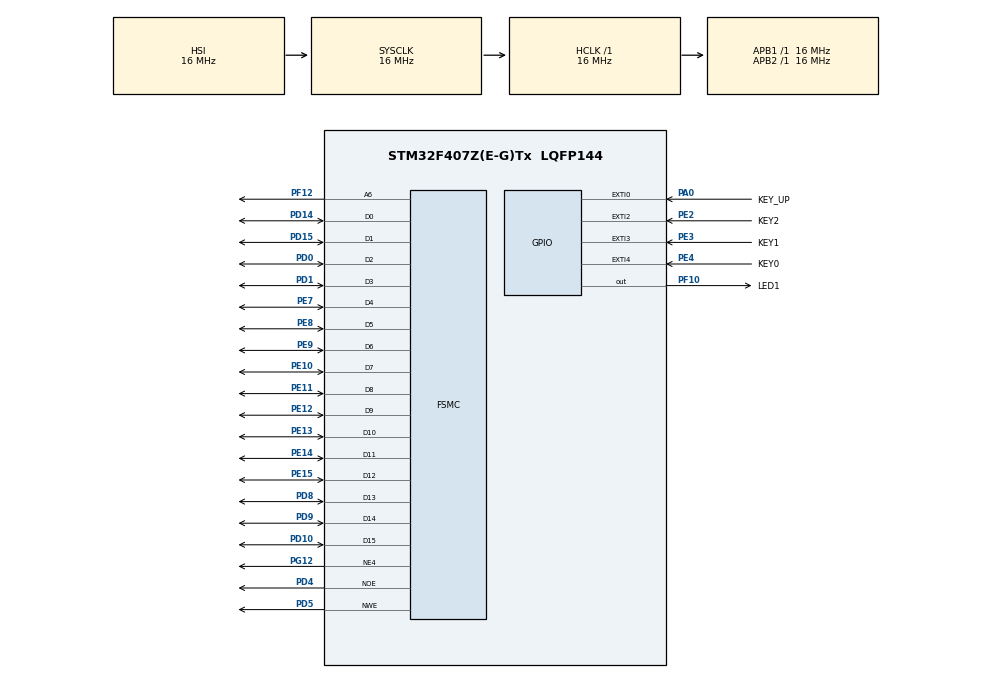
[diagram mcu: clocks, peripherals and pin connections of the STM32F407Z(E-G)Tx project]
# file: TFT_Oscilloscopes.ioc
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FSMC.AddressSetupTime1=1
FSMC.BusTurnAroundDuration1=1
FSMC.DataSetupTime1=1
Mcu.Family=STM32F4
Mcu.Name=STM32F407Z(E-G)Tx
Mcu.Package=LQFP144
NVIC.EXTI0_IRQn=true\:0\:0\:false\:false\:true\:true\:true\:true
NVIC.EXTI2_IRQn=true\:0\:0\:false\:false\:true\:true\:true\:true
NVIC.EXTI3_IRQn=true\:0\:0\:false\:false\:true\:true\:true\:true
NVIC.EXTI4_IRQn=true\:0\:0\:false\:false\:true\:true\:true\:true
NVIC.PriorityGroup=NVIC_PRIORITYGROUP_4
NVIC.TIM1_BRK_TIM9_IRQn=true\:0\:0\:false\:false\:true\:true\:true\:true
NVIC.TIM1_UP_TIM10_IRQn=true\:0\:0\:false\:false\:true\:true\:true\:true
PA0-WKUP.GPIO_Label=KEY_UP
PA0-WKUP.GPIO_ModeDefaultEXTI=GPIO_MODE_IT_RISING_FALLING
PA0-WKUP.GPIO_PuPd=GPIO_PULLDOWN
PA0-WKUP.Signal=GPXTI0
PD0.Signal=FSMC_D2_DA2
PD1.Signal=FSMC_D3_DA3
PD10.Signal=FSMC_D15_DA15
PD14.Signal=FSMC_D0_DA0
PD15.Signal=FSMC_D1_DA1
PD4.Signal=FSMC_NOE
PD5.Signal=FSMC_NWE
PD8.Signal=FSMC_D13_DA13
PD9.Signal=FSMC_D14_DA14
PE10.Signal=FSMC_D7_DA7
PE11.Signal=FSMC_D8_DA8
PE12.Signal=FSMC_D9_DA9
PE13.Signal=FSMC_D10_DA10
PE14.Signal=FSMC_D11_DA11
PE15.Signal=FSMC_D12_DA12
PE2.GPIO_Label=KEY2
PE2.GPIO_ModeDefaultEXTI=GPIO_MODE_IT_RISING_FALLING
PE2.GPIO_PuPd=GPIO_PULLUP
PE2.Signal=GPXTI2
PE3.GPIO_Label=KEY1
PE3.GPIO_ModeDefaultEXTI=GPIO_MODE_IT_RISING_FALLING
PE3.GPIO_PuPd=GPIO_PULLUP
PE3.Signal=GPXTI3
PE4.GPIO_Label=KEY0
PE4.GPIO_ModeDefaultEXTI=GPIO_MODE_IT_RISING_FALLING
PE4.GPIO_PuPd=GPIO_PULLUP
PE4.Signal=GPXTI4
PE7.Signal=FSMC_D4_DA4
PE8.Signal=FSMC_D5_DA5
PE9.Signal=FSMC_D6_DA6
PF10.GPIO_Label=LED1
PF10.Signal=GPIO_Output
PF12.Signal=FSMC_A6
PG12.Mode=NorPsramChipSelect4_1
PG12.Signal=FSMC_NE4
ProjectManager.HeapSize=0x200
ProjectManager.StackSize=0x400
ProjectManager.TargetToolchain=STM32CubeIDE
RCC.AHBFreq_Value=16000000
RCC.APB1Freq_Value=16000000
RCC.APB2Freq_Value=16000000
RCC.CortexFreq_Value=16000000
RCC.HSE_VALUE=25000000
RCC.HSI_VALUE=16000000
RCC.LSE_VALUE=32768
RCC.SYSCLKFreq_VALUE=16000000
RCC.VCOOutputFreq_Value=192000000
SH.FSMC_A6.0=FSMC_A6,A6_1
SH.FSMC_D0_DA0.0=FSMC_D0,16b-d1
SH.FSMC_D10_DA10.0=FSMC_D10,16b-d1
SH.FSMC_D11_DA11.0=FSMC_D11,16b-d1
SH.FSMC_D12_DA12.0=FSMC_D12,16b-d1
SH.FSMC_D13_DA13.0=FSMC_D13,16b-d1
SH.FSMC_D14_DA14.0=FSMC_D14,16b-d1
SH.FSMC_D15_DA15.0=FSMC_D15,16b-d1
SH.FSMC_D1_DA1.0=FSMC_D1,16b-d1
SH.FSMC_D2_DA2.0=FSMC_D2,16b-d1
SH.FSMC_D3_DA3.0=FSMC_D3,16b-d1
SH.FSMC_D4_DA4.0=FSMC_D4,16b-d1
SH.FSMC_D5_DA5.0=FSMC_D5,16b-d1
SH.FSMC_D6_DA6.0=FSMC_D6,16b-d1
SH.FSMC_D7_DA7.0=FSMC_D7,16b-d1
SH.FSMC_D8_DA8.0=FSMC_D8,16b-d1
SH.FSMC_D9_DA9.0=FSMC_D9,16b-d1
SH.FSMC_NOE.0=FSMC_NOE,Lcd1
SH.FSMC_NWE.0=FSMC_NWE,Lcd1
TIM1.Period=400
TIM1.Prescaler=400
VP_TIM1_VS_ClockSourceINT.Mode=Internal
board=custom

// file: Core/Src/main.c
/* USER CODE BEGIN Header */
/**
  ******************************************************************************
  * @file           : main.c
  * @brief          : Main program body
  ******************************************************************************
  * @attention
  *
  * Copyright (c) 2024 STMicroelectronics.
  * All rights reserved.
  *
  * This software is licensed under terms that can be found in the LICENSE file
  * in the root directory of this software component.
  * If no LICENSE file comes with this software, it is provided AS-IS.
  *
  ******************************************************************************
  */
/* USER CODE END Header */
#include "main.h"

/* USER CODE BEGIN Includes */
#include "tftlcd.h"
#include <math.h>
/* USER CODE END Includes */

TIM_HandleTypeDef htim1;

SRAM_HandleTypeDef hsram1;

/* USER CODE BEGIN PV */
float x,y;
/* USER CODE END PV */

void SystemClock_Config(void);
static void MX_GPIO_Init(void);
static void MX_FSMC_Init(void);
static void MX_TIM1_Init(void);

/* USER CODE BEGIN 0 */

void HAL_GPIO_EXTI_Callback(uint16_t GPIO_Pin)
{
	HAL_TIM_Base_Start_IT(&htim1);
}

void onKey0();
void onKey1();
void onKey2();
void onKeyUP();

void HAL_TIM_PeriodElapsedCallback(TIM_HandleTypeDef *htim)
{
	int keyState = 0;
	int pressedKey = 1;
	switch(keyState)
	{
		case 0:

			if(!HAL_GPIO_ReadPin(KEY0_GPIO_Port,KEY0_Pin))
			{
				pressedKey = 0;
				keyState = 1;
				onKey0();
			} else if(!HAL_GPIO_ReadPin(KEY1_GPIO_Port,KEY1_Pin))
			{
				pressedKey = 1;
				keyState = 1;
				onKey1();
			} else if(!HAL_GPIO_ReadPin(KEY2_GPIO_Port,KEY2_Pin))
			{
				pressedKey = 2;
				keyState = 1;
				onKey2();

			} else if (HAL_GPIO_ReadPin(KEY_UP_GPIO_Port,KEY_UP_Pin))
			{
				pressedKey = -1;
				keyState = 1;
				onKeyUP();
			}
			break;
		case 1:

		switch(pressedKey)
		{
			case 0:
				if(HAL_GPIO_ReadPin(KEY0_GPIO_Port,KEY0_Pin))
				{
					keyState = 0;
				}
				break;
			case 1:
				if(HAL_GPIO_ReadPin(KEY1_GPIO_Port,KEY1_Pin))
				{
					keyState = 0;
				}
				break;
			case 2:
				if(HAL_GPIO_ReadPin(KEY2_GPIO_Port,KEY2_Pin))
				{
					keyState = 0;
				}
				break;
			case -1:
				if (!HAL_GPIO_ReadPin(KEY_UP_GPIO_Port,KEY_UP_Pin))
				{
					keyState = 0;
				}
				break;
		}
		break;
	}

}

void drawAxis()
{
	TFT_DrawLine(1,240,320,240,0xFFFF);
	TFT_DrawLine(160,1,160,480,0xFFFF);
	TFT_DrawLine(320,240,310,230,0xFFFF);
	TFT_DrawLine(320,240,310,250,0xFFFF);
	TFT_DrawLine(160,480,150,470,0xFFFF);
	TFT_DrawLine(160,480,170,470,0xFFFF);
	for(int j=0;j<=48;j++)
	{
		TFT_DrawLine(160,j*10,170,j*10,0xFFFF);
	}
	for(int j=0;j<=32;j++)
	{
		TFT_DrawLine(j*10,240,j*10,250,0xFFFF);
	}
}

void drawCoordinate_Sin()
{
	TFT_Clear(0x0000);
	drawAxis();
	for(float i=1;i<480;i+=0.1)
	{
		y=i;
		x=50*sin(i*3.1415/20)+160;
		TFT_DrawPoint(x,y,0xF800);
	}
}

void drawCoordinate1()
{
	TFT_Clear(0x0000);
	drawAxis();
	for(float i=1;i<480;i+=0.1)
	{
		y=i;
		x=50*sin(i*3.1415/20);
		if(x<0.2&&x>-0.2)
		{
			TFT_DrawLine(120,i,200,i,0xF800);
			TFT_DrawLine(200,i,120,i+20,0xF800);
		}
	}
}

void drawCoordinate2()
{
	TFT_Clear(0x0000);
	drawAxis();
	for(float i=1;i<480;i+=0.1)
	{
		x=i;
		y=50*sin(i*3.1415/20);
		if(y>0.1)
		{
			y=200;
			TFT_DrawPoint(y,x,0xF800);
		}
		else if(y<-0.1)
		{
			y=120;
			TFT_DrawPoint(y,x,0xF800);
		}
		else
			TFT_DrawLine(120,i,200,i,0xF800);
	}
}

void drawCoordinate3()
{
	TFT_Clear(0x0000);
	drawAxis();
	for(float i=1;i<480;i+=0.1)
	{
		x=i;
		y=50*sin(i*3.1415/20);
		if(y<0.2&&y>-0.2)
		{
			TFT_DrawLine(200,i,120,i+10,0xF800);
			TFT_DrawLine(120,i-10,200,i,0xF800);
		}
	}
}

void onKey0()
{
	drawCoordinate_Sin();
}

void onKey1()
{
	drawCoordinate1();
}

void onKey2()
{
	drawCoordinate2();
}

void onKeyUP()
{
	drawCoordinate3();
}

/* USER CODE END 0 */

int main(void)
{

  /* MCU Configuration--------------------------------------------------------*/

  /* Reset of all peripherals, Initializes the Flash interface and the Systick. */
  HAL_Init();

  /* Configure the system clock */
  SystemClock_Config();

  /* Initialize all configured peripherals */
  MX_GPIO_Init();
  MX_FSMC_Init();
  MX_TIM1_Init();

  /* Infinite loop */
  /* USER CODE BEGIN WHILE */
	TFT_Init();
	TFT_Clear(0xFEA0);

  while (1)
  {

  }
    /* USER CODE END WHILE */

}

void SystemClock_Config(void)
{
  RCC_OscInitTypeDef RCC_OscInitStruct = {0};
  RCC_ClkInitTypeDef RCC_ClkInitStruct = {0};

  /** Configure the main internal regulator output voltage
  */
  __HAL_RCC_PWR_CLK_ENABLE();
  __HAL_PWR_VOLTAGESCALING_CONFIG(PWR_REGULATOR_VOLTAGE_SCALE1);

  /** Initializes the RCC Oscillators according to the specified parameters
  * in the RCC_OscInitTypeDef structure.
  */
  RCC_OscInitStruct.OscillatorType = RCC_OSCILLATORTYPE_HSI;
  RCC_OscInitStruct.HSIState = RCC_HSI_ON;
  RCC_OscInitStruct.HSICalibrationValue = RCC_HSICALIBRATION_DEFAULT;
  RCC_OscInitStruct.PLL.PLLState = RCC_PLL_NONE;
  if (HAL_RCC_OscConfig(&RCC_OscInitStruct) != HAL_OK)
  {
    Error_Handler();
  }

  /** Initializes the CPU, AHB and APB buses clocks
  */
  RCC_ClkInitStruct.ClockType = RCC_CLOCKTYPE_HCLK|RCC_CLOCKTYPE_SYSCLK
                              |RCC_CLOCKTYPE_PCLK1|RCC_CLOCKTYPE_PCLK2;
  RCC_ClkInitStruct.SYSCLKSource = RCC_SYSCLKSOURCE_HSI;
  RCC_ClkInitStruct.AHBCLKDivider = RCC_SYSCLK_DIV1;
  RCC_ClkInitStruct.APB1CLKDivider = RCC_HCLK_DIV1;
  RCC_ClkInitStruct.APB2CLKDivider = RCC_HCLK_DIV1;

  if (HAL_RCC_ClockConfig(&RCC_ClkInitStruct, FLASH_LATENCY_0) != HAL_OK)
  {
    Error_Handler();
  }
}

static void MX_TIM1_Init(void)
{

  TIM_ClockConfigTypeDef sClockSourceConfig = {0};
  TIM_MasterConfigTypeDef sMasterConfig = {0};

  htim1.Instance = TIM1;
  htim1.Init.Prescaler = 400;
  htim1.Init.CounterMode = TIM_COUNTERMODE_UP;
  htim1.Init.Period = 400;
  htim1.Init.ClockDivision = TIM_CLOCKDIVISION_DIV1;
  htim1.Init.RepetitionCounter = 0;
  htim1.Init.AutoReloadPreload = TIM_AUTORELOAD_PRELOAD_DISABLE;
  if (HAL_TIM_Base_Init(&htim1) != HAL_OK)
  {
    Error_Handler();
  }
  sClockSourceConfig.ClockSource = TIM_CLOCKSOURCE_INTERNAL;
  if (HAL_TIM_ConfigClockSource(&htim1, &sClockSourceConfig) != HAL_OK)
  {
    Error_Handler();
  }
  sMasterConfig.MasterOutputTrigger = TIM_TRGO_RESET;
  sMasterConfig.MasterSlaveMode = TIM_MASTERSLAVEMODE_DISABLE;
  if (HAL_TIMEx_MasterConfigSynchronization(&htim1, &sMasterConfig) != HAL_OK)
  {
    Error_Handler();
  }

}

static void MX_GPIO_Init(void)
{
  GPIO_InitTypeDef GPIO_InitStruct = {0};

  /* GPIO Ports Clock Enable */
  __HAL_RCC_GPIOE_CLK_ENABLE();
  __HAL_RCC_GPIOF_CLK_ENABLE();
  __HAL_RCC_GPIOA_CLK_ENABLE();
  __HAL_RCC_GPIOD_CLK_ENABLE();
  __HAL_RCC_GPIOG_CLK_ENABLE();

  /*Configure GPIO pin Output Level */
  HAL_GPIO_WritePin(LED1_GPIO_Port, LED1_Pin, GPIO_PIN_RESET);

  /*Configure GPIO pins : KEY2_Pin KEY1_Pin KEY0_Pin */
  GPIO_InitStruct.Pin = KEY2_Pin|KEY1_Pin|KEY0_Pin;
  GPIO_InitStruct.Mode = GPIO_MODE_IT_RISING_FALLING;
  GPIO_InitStruct.Pull = GPIO_PULLUP;
  HAL_GPIO_Init(GPIOE, &GPIO_InitStruct);

  /*Configure GPIO pin : LED1_Pin */
  GPIO_InitStruct.Pin = LED1_Pin;
  GPIO_InitStruct.Mode = GPIO_MODE_OUTPUT_PP;
  GPIO_InitStruct.Pull = GPIO_NOPULL;
  GPIO_InitStruct.Speed = GPIO_SPEED_FREQ_LOW;
  HAL_GPIO_Init(LED1_GPIO_Port, &GPIO_InitStruct);

  /*Configure GPIO pin : KEY_UP_Pin */
  GPIO_InitStruct.Pin = KEY_UP_Pin;
  GPIO_InitStruct.Mode = GPIO_MODE_IT_RISING_FALLING;
  GPIO_InitStruct.Pull = GPIO_PULLDOWN;
  HAL_GPIO_Init(KEY_UP_GPIO_Port, &GPIO_InitStruct);

  /* EXTI interrupt init*/
  HAL_NVIC_SetPriority(EXTI0_IRQn, 0, 0);
  HAL_NVIC_EnableIRQ(EXTI0_IRQn);

  HAL_NVIC_SetPriority(EXTI2_IRQn, 0, 0);
  HAL_NVIC_EnableIRQ(EXTI2_IRQn);

  HAL_NVIC_SetPriority(EXTI3_IRQn, 0, 0);
  HAL_NVIC_EnableIRQ(EXTI3_IRQn);

  HAL_NVIC_SetPriority(EXTI4_IRQn, 0, 0);
  HAL_NVIC_EnableIRQ(EXTI4_IRQn);

}

/* FSMC initialization function */
static void MX_FSMC_Init(void)
{

  FSMC_NORSRAM_TimingTypeDef Timing = {0};

  /** Perform the SRAM1 memory initialization sequence
  */
  hsram1.Instance = FSMC_NORSRAM_DEVICE;
  hsram1.Extended = FSMC_NORSRAM_EXTENDED_DEVICE;
  /* hsram1.Init */
  hsram1.Init.NSBank = FSMC_NORSRAM_BANK4;
  hsram1.Init.DataAddressMux = FSMC_DATA_ADDRESS_MUX_DISABLE;
  hsram1.Init.MemoryType = FSMC_MEMORY_TYPE_SRAM;
  hsram1.Init.MemoryDataWidth = FSMC_NORSRAM_MEM_BUS_WIDTH_16;
  hsram1.Init.BurstAccessMode = FSMC_BURST_ACCESS_MODE_DISABLE;
  hsram1.Init.WaitSignalPolarity = FSMC_WAIT_SIGNAL_POLARITY_LOW;
  hsram1.Init.WrapMode = FSMC_WRAP_MODE_DISABLE;
  hsram1.Init.WaitSignalActive = FSMC_WAIT_TIMING_BEFORE_WS;
  hsram1.Init.WriteOperation = FSMC_WRITE_OPERATION_ENABLE;
  hsram1.Init.WaitSignal = FSMC_WAIT_SIGNAL_DISABLE;
  hsram1.Init.ExtendedMode = FSMC_EXTENDED_MODE_DISABLE;
  hsram1.Init.AsynchronousWait = FSMC_ASYNCHRONOUS_WAIT_DISABLE;
  hsram1.Init.WriteBurst = FSMC_WRITE_BURST_DISABLE;
  hsram1.Init.PageSize = FSMC_PAGE_SIZE_NONE;
  /* Timing */
  Timing.AddressSetupTime = 1;
  Timing.AddressHoldTime = 15;
  Timing.DataSetupTime = 1;
  Timing.BusTurnAroundDuration = 1;
  Timing.CLKDivision = 16;
  Timing.DataLatency = 17;
  Timing.AccessMode = FSMC_ACCESS_MODE_A;
  /* ExtTiming */

  if (HAL_SRAM_Init(&hsram1, &Timing, NULL) != HAL_OK)
  {
    Error_Handler( );
  }

}

void Error_Handler(void)
{
  __disable_irq();
  while (1)
  {
  }
}
